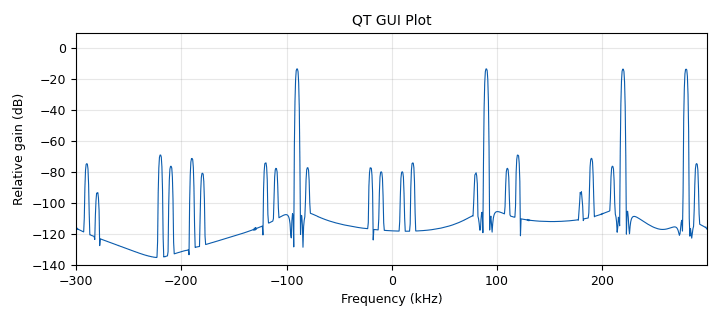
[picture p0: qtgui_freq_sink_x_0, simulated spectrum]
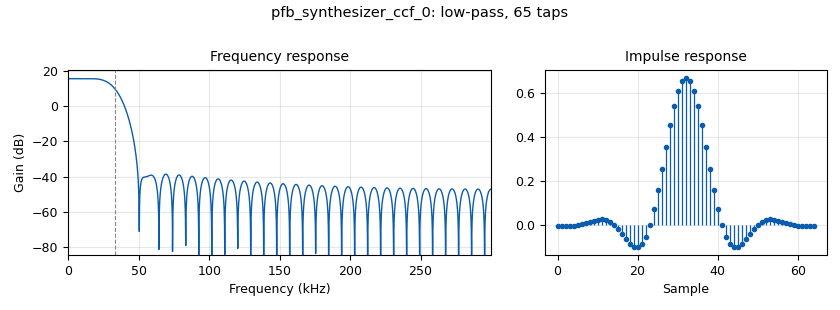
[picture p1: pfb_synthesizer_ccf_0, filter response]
<?xml version='1.0' encoding='utf-8'?>
<?grc format='1' created='3.7.6'?>
<flow_graph>
<block>
<key>options</key>
<param><key>id</key><value>ofdm_channelizer_tx</value></param>
<param><key>generate_options</key><value>qt_gui</value></param>
<param><key>category</key><value>Custom</value></param>
</block>
<block>
<key>variable</key>
<param><key>id</key><value>taps</value></param>
<param><key>value</key><value>firdes.low_pass_2(6, 6*samp_rate, samp_rate/3.0, samp_rate/4.0, 60)</value></param>
</block>
<block>
<key>variable</key>
<param><key>id</key><value>samp_rate</value></param>
<param><key>value</key><value>100e3</value></param>
</block>
<block>
<key>blocks_throttle</key>
<param><key>id</key><value>blocks_throttle_0</value></param>
<param><key>type</key><value>complex</value></param>
<param><key>samples_per_second</key><value>samp_rate</value></param>
</block>
<block>
<key>analog_sig_source_x</key>
<param><key>id</key><value>analog_sig_source_x_0</value></param>
<param><key>type</key><value>complex</value></param>
<param><key>samp_rate</key><value>samp_rate</value></param>
<param><key>waveform</key><value>analog.GR_COS_WAVE</value></param>
<param><key>freq</key><value>10000</value></param>
<param><key>amp</key><value>1</value></param>
<param><key>offset</key><value>0</value></param>
</block>
<block>
<key>analog_sig_source_x</key>
<param><key>id</key><value>analog_sig_source_x_0_0</value></param>
<param><key>type</key><value>complex</value></param>
<param><key>samp_rate</key><value>samp_rate</value></param>
<param><key>waveform</key><value>analog.GR_COS_WAVE</value></param>
<param><key>freq</key><value>-10000</value></param>
<param><key>amp</key><value>1</value></param>
<param><key>offset</key><value>0</value></param>
</block>
<block>
<key>analog_sig_source_x</key>
<param><key>id</key><value>analog_sig_source_x_0_1</value></param>
<param><key>type</key><value>complex</value></param>
<param><key>samp_rate</key><value>samp_rate</value></param>
<param><key>waveform</key><value>analog.GR_COS_WAVE</value></param>
<param><key>freq</key><value>20000</value></param>
<param><key>amp</key><value>1</value></param>
<param><key>offset</key><value>0</value></param>
</block>
<block>
<key>analog_sig_source_x</key>
<param><key>id</key><value>analog_sig_source_x_0_2</value></param>
<param><key>type</key><value>complex</value></param>
<param><key>samp_rate</key><value>samp_rate</value></param>
<param><key>waveform</key><value>analog.GR_COS_WAVE</value></param>
<param><key>freq</key><value>-20000</value></param>
<param><key>amp</key><value>1</value></param>
<param><key>offset</key><value>0</value></param>
</block>
<block>
<key>qtgui_freq_sink_x</key>
<param><key>id</key><value>qtgui_freq_sink_x_0</value></param>
<param><key>type</key><value>complex</value></param>
<param><key>name</key><value>QT GUI Plot</value></param>
<param><key>fftsize</key><value>1024</value></param>
<param><key>wintype</key><value>firdes.WIN_FLATTOP</value></param>
<param><key>fc</key><value>0</value></param>
<param><key>bw</key><value>samp_rate*6</value></param>
<param><key>showports</key><value>True</value></param>
<param><key>width1</key><value>2</value></param>
</block>
<block>
<key>pfb_synthesizer_ccf</key>
<param><key>id</key><value>pfb_synthesizer_ccf_0</value></param>
<param><key>numchans</key><value>6</value></param>
<param><key>connections</key><value>4</value></param>
<param><key>taps</key><value>taps</value></param>
<param><key>twox</key><value>False</value></param>
<param><key>ch_map</key><value>[5]</value></param>
<param><key>bus_conns</key><value>[[0,],]</value></param>
</block>
<connection><source_block_id>blocks_throttle_0</source_block_id><sink_block_id>qtgui_freq_sink_x_0</sink_block_id><source_key>0</source_key><sink_key>0</sink_key></connection>
<connection><source_block_id>analog_sig_source_x_0</source_block_id><sink_block_id>pfb_synthesizer_ccf_0</sink_block_id><source_key>0</source_key><sink_key>0</sink_key></connection>
<connection><source_block_id>analog_sig_source_x_0_0</source_block_id><sink_block_id>pfb_synthesizer_ccf_0</sink_block_id><source_key>0</source_key><sink_key>1</sink_key></connection>
<connection><source_block_id>analog_sig_source_x_0_2</source_block_id><sink_block_id>pfb_synthesizer_ccf_0</sink_block_id><source_key>0</source_key><sink_key>3</sink_key></connection>
<connection><source_block_id>analog_sig_source_x_0_1</source_block_id><sink_block_id>pfb_synthesizer_ccf_0</sink_block_id><source_key>0</source_key><sink_key>2</sink_key></connection>
<connection><source_block_id>pfb_synthesizer_ccf_0</source_block_id><sink_block_id>blocks_throttle_0</sink_block_id><source_key>0</source_key><sink_key>0</sink_key></connection>
</flow_graph>
